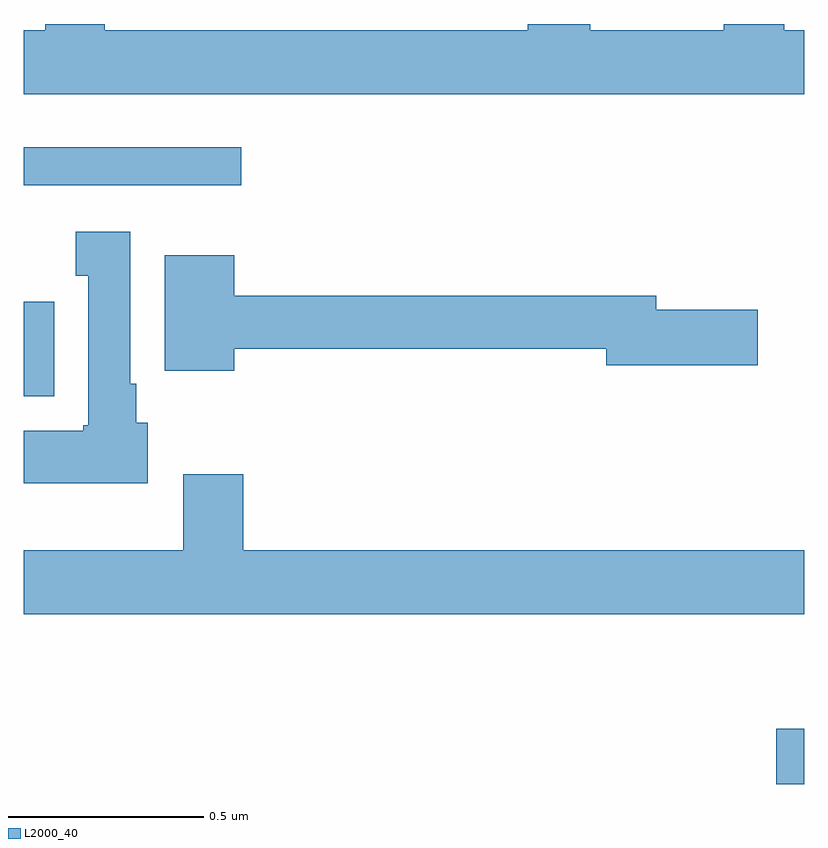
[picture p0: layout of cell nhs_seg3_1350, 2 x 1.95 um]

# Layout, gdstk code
import gdstk
lib = gdstk.Library(unit=1e-6, precision=1e-09)
def R(c, l, rs):  # rectangles x0, y0, x1, y1
    for r in rs: c.add(gdstk.rectangle(r[:2], r[2:], *l))
def P(c, l, *ps):  # polygons
    for p in ps: c.add(gdstk.Polygon(p, *l))
L2000_40 = (2000, 40)

nhs_seg3_1350 = lib.new_cell('nhs_seg3_1350')
R(nhs_seg3_1350, L2000_40, [(128.928,728.453,129,728.595), (127,729.446,127.078,729.688), (127,729.987,127.558,730.084)])
P(nhs_seg3_1350, L2000_40, [(129,730.384),(128.949,730.384),(128.949,730.4),(128.794,730.4),(128.794,730.384),(128.451,730.384),(128.451,730.4),(128.291,730.4),(128.291,730.384),(127.208,730.384),(127.208,730.4),(127.055,730.4),(127.055,730.384),(127,730.384),(127,730.22),(129,730.22)],
  [(127.318,729.378),(127.288,729.378),(127.288,729.478),(127.273,729.478),(127.273,729.868),(127.133,729.868),(127.133,729.755),(127.166,729.755),(127.166,729.372),(127.153,729.372),(127.153,729.358),(127,729.358),(127,729.224),(127.318,729.224)],
  [(127.54,729.568),(128.492,729.568),(128.492,729.526),(128.881,729.526),(128.881,729.668),(128.62,729.668),(128.62,729.704),(127.54,729.704),(127.54,729.808),(127.361,729.808),(127.361,729.512),(127.54,729.512)],
  [(129,729.052),(127.562,729.052),(127.562,729.247),(127.409,729.247),(127.409,729.052),(127,729.052),(127,728.888),(129,728.888)])

lib.write_gds('nhs_seg3_1350.gds')
